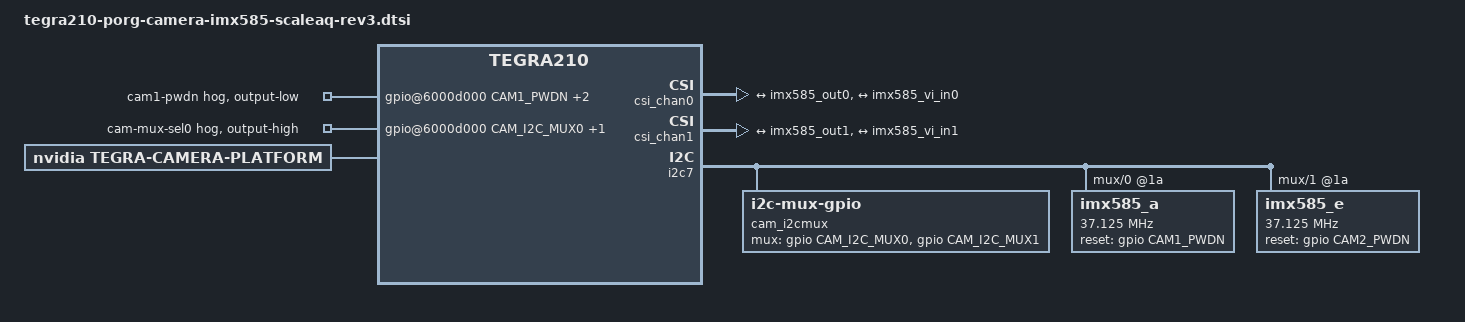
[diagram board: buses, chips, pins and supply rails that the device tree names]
/*
 * tegra210-porg-camera-imx585-scaleaq-rev2.dtsi - imx585 sensor device tree
 *
 * Copyright (c) 2022. ScaleAQ.  All rights reserved.
 *
 * This program is free software; you can redistribute it and/or modify it
 * under the terms and conditions of the GNU General Public License,
 * version 2, as published by the Free Software Foundation.
 *
 * This program is distributed in the hope it will be useful, but WITHOUT
 * ANY WARRANTY; without even the implied warranty of MERCHANTABILITY or
 * FITNESS FOR A PARTICULAR PURPOSE.  See the GNU General Public License for
 * more details.
 *
 * You should have received a copy of the GNU General Public License
 * along with this program.  If not, see <http://www.gnu.org/licenses/>.
 */

#include "tegra210-porg-camera-imx585.dtsi"
#include <dt-bindings/media/camera.h>
#include <dt-bindings/platform/t210/t210.h>
#include <dt-bindings/clock/tegra210-car.h>

#define CAM1_PWDN		TEGRA_GPIO(S, 7)
#define CAM2_PWDN		TEGRA_GPIO(T, 0)
#define CAM3_PWDN		TEGRA_GPIO(I, 2)
#define CAM_I2C_MUX0 TEGRA_GPIO(I, 0) // NFC_EN GPIO
#define CAM_I2C_MUX1 TEGRA_GPIO(I, 1) // NFC_INT GPIO


/ {
	scaleaq,image-sensor-type = "imx585";

	lens_imx585@dummy {
		min_focus_distance = "0.0";
		hyper_focal = "0.0";
		focal_length = "3.04";
		f_number = "2.0";
		aperture = "0.0";
	};

	gpio@6000d000 {
		camera-control-output-low {
			gpio-hog;
			output-low;
			gpios = < CAM1_PWDN 0  CAM2_PWDN 0 CAM3_PWDN 0>;
			label = "cam1-pwdn", "cam2-pwdn", "cam3-pwdn";
		};

		camera-mux-port-0 {
			gpio-hog;
			output-high;
			gpios = <CAM_I2C_MUX0 0 CAM_I2C_MUX1 0>;
			label = "cam-mux-sel0","cam-mux-sel1";
			status = "okay";
		};
	};

	host1x {
		vi_base: vi {
			num-channels = <2>;
			ports {
				#address-cells = <1>;
				#size-cells = <0>;
				vi_port0: port@0 {
					reg = <0>;
					status = "okay";
					imx585_vi_in0: endpoint {
						port-index = <0>;
						bus-width = <2>;
						remote-endpoint = <&imx585_csi_out0>;
						status = "okay";
					};
				};
				vi_port1: port@1 {
					reg = <1>;
					status = "okay";
					imx585_vi_in1: endpoint {
						port-index = <4>;
						bus-width = <2>;
						remote-endpoint = <&imx585_csi_out1>;
						status = "okay";
					};
				};
			};
		};

		csi_base: nvcsi {
			num-channels = <2>;
			#address-cells = <1>;
			#size-cells = <0>;
			csi_chan0: channel@0 {
				reg = <0>;
				status = "okay";
				ports {
					#address-cells = <1>;
					#size-cells = <0>;
					csi_chan0_port0: port@0 {
						reg = <0>;
						status = "okay";
						imx585_csi_in0: endpoint@0 {
							port-index = <0>;
							bus-width = <2>;
							remote-endpoint = <&imx585_out0>;
							status = "okay";
						};
					};
					csi_chan0_port1: port@1 {
						reg = <1>;
						status = "okay";
						imx585_csi_out0: endpoint@1 {
							remote-endpoint = <&imx585_vi_in0>;
							status = "okay";
						};
					};
				};
			};
			csi_chan1: channel@1 {
				reg = <1>;
				status = "okay";
				ports {
					#address-cells = <1>;
					#size-cells = <0>;
					csi_chan1_port0: port@2 {
						reg = <0>;
						status = "okay";
						imx585_csi_in1: endpoint@2 {
							port-index = <4>;
							bus-width = <2>;
							remote-endpoint = <&imx585_out1>;
							status = "okay";
						};
					};
					csi_chan1_port1: port@3 {
						reg = <1>;
						status = "okay";
						imx585_csi_out1: endpoint@3 {
							remote-endpoint = <&imx585_vi_in1>;
							status = "okay";
						};
					};
				};
			};
		};
	};

	cam_i2cmux {
		compatible = "i2c-mux-gpio";
		#address-cells = <1>;
		#size-cells = <0>;
		mux-gpios = <&gpio CAM_I2C_MUX0 GPIO_ACTIVE_HIGH &gpio CAM_I2C_MUX1 GPIO_ACTIVE_HIGH>;
		i2c-parent = <&i2c7>;
		status = "okay";

		i2c@0 {
			reg = <0>;
			status = "okay";
			#address-cells = <1>;
			#size-cells = <0>;

			imx585_a@1a {
				/* Define any required hw resources needed by driver */
				/* ie. clocks, io pins, power sources */
				clocks = <&tegra_car TEGRA210_CLK_CLK_OUT_3>;
				clock-names = "clk_out_3";
				mclk = "clk_out_3";
				clock-frequency = <37125000>;
				reset-gpios = <&gpio CAM1_PWDN GPIO_ACTIVE_HIGH>;
			};
		};

		i2c@1 {
			reg = <1>;
			status = "okay";
			#address-cells = <1>;
			#size-cells = <0>;

			imx585_e@1a {
				/* Define any required hw resources needed by driver */
				/* ie. clocks, io pins, power sources */
				clocks = <&tegra_car TEGRA210_CLK_CLK_OUT_3>;
				clock-names = "clk_out_3";
				mclk = "clk_out_3";
				clock-frequency = <37125000>;
				reset-gpios = <&gpio CAM2_PWDN GPIO_ACTIVE_HIGH>;
			};
		};
	};

	tegra-camera-platform {
		compatible = "nvidia, tegra-camera-platform";

		modules {
			cam_module0: module0 {
				status = "okay";
				cam_module0_drivernode0: drivernode0 {
					status = "okay";
				};
				cam_module0_drivernode1: drivernode1 {
					status = "okay";
					pcl_id = "v4l2_lens";
					proc-device-tree = "/proc/device-tree/lens_imx585@dummy/";
				};
			};
			cam_module1: module1 {
				status = "okay";
				cam_module1_drivernode0: drivernode0 {
					status = "okay";
				};
				cam_module1_drivernode1: drivernode1 {
					status = "okay";
					pcl_id = "v4l2_lens";
					proc-device-tree = "/proc/device-tree/lens_imx585@dummy/";
				};
			};
		};
	};
};
